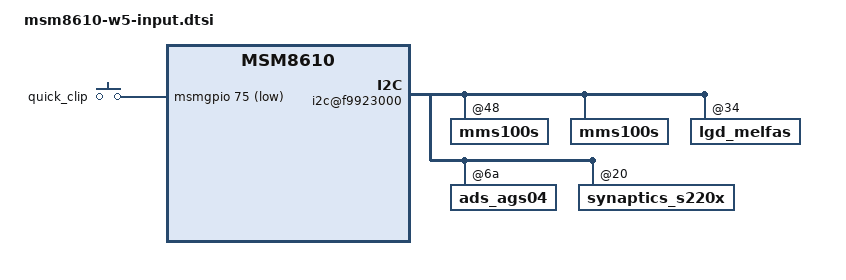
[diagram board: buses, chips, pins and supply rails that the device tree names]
/* Copyright (c) 2012, Code Aurora Forum. All rights reserved.
 *
 * This program is free software; you can redistribute it and/or modify
 * it under the terms of the GNU General Public License version 2 and
 * only version 2 as published by the Free Software Foundation.
 *
 * This program is distributed in the hope that it will be useful,
 * but WITHOUT ANY WARRANTY; without even the implied warranty of
 * MERCHANTABILITY or FITNESS FOR A PARTICULAR PURPOSE.  See the
 * GNU General Public License for more details.
 */

&soc {
	i2c@f9923000{
		mms100s@48 {
			melfas,product = "I2S45B";
			melfas,max-x = <480>;
			melfas,max-y = <800>;
                        melfas,use_vdd_i2c = <1>;
			melfas,gpio-vdd-en = <62>;
			melfas,key-map = <158 139>;
			melfas,fw-image-name = "melfas/w5_global_com/w5_global_com_rev_b_v101.mfsb";
			status = "ok";
			revision = "rev_b";
		};

		mms100s@48_rev_c {
			melfas,product = "I2S45B";
			melfas,max-x = <480>;
			melfas,max-y = <800>;
                        melfas,use_vdd_i2c = <1>;
			melfas,gpio-vdd-en = <82>;
			melfas,key-map = <158 139>;
			melfas,fw-image-name = "melfas/w5_global_com/w5_global_com_rev_b_v101.mfsb";
			status = "ok";
			revision = "rev_c";
		};

		lgd_melfas@34 {
			status = "ok";
			revision = "rev_a";
		};

		ads_ags04@6a {
			status = "ok";
			revision = "rev_a";
		};
		
		synaptics_red@20 {
			status = "disable";
			revision = "rev_d...";
			synaptics,button-map = <158 139>;
			synaptics,gpio_vdd_en  = <82>;
		};
		
		synaptics_s220x@20 {
			status = "ok";
			revision = "rev_d...";
			synaptics,fw_version = "T001";
			synaptics,platform_data	{
				number_of_button = <2>;
				button_name = [9e 8b];
				x_max = <960>;
				y_max = <1600>;
				lcd_x = <480>;
				lcd_y = <800>;
				gpio_vdd_en = <82>;
			    /* firmware image depends on this value, temporarily used */
			    /* 0: No image(default), 1: W3DS(TIM BR)(PLG312_T001), 2: W3S(VDF)(PLG311_T001), 3:X3, 4:W5DS, 5:W5S ... */
				panel_type = <5>;
				/*maker_id  disable(0), enable(1)*/
				maker_id = <1>;
				maker_id_gpio = <76>;
			};				
		};
	};
	gpio_keys {
		quick_clip {
			label = "quick_clip";
			gpios = <&msmgpio 75 0x1>;
			linux,input-type = <1>;
			linux,code = <250>;
			gpio-key,wakeup;
			debounce-interval = <15>;
		};
	};
};
